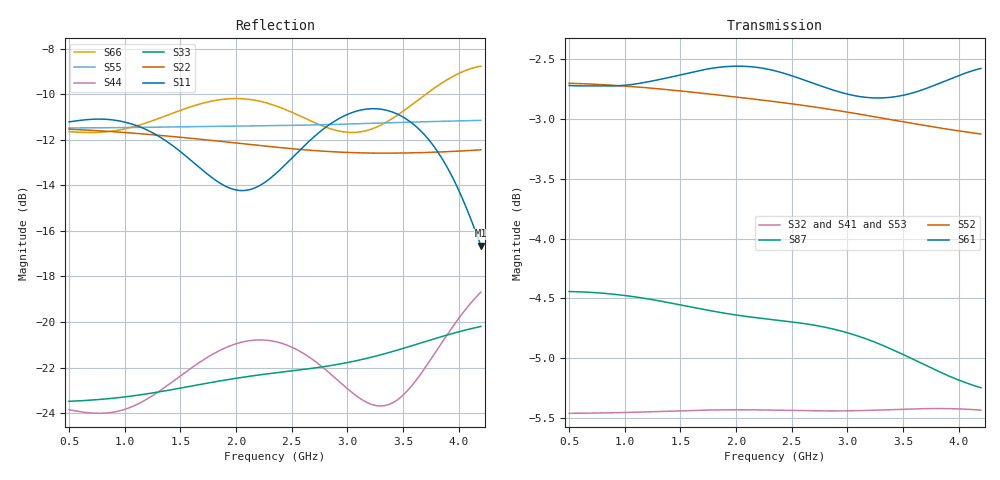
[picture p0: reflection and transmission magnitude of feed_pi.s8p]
! Created with skrf 2.1.0 (http://scikit-rf.org).
# Hz S RI R 50.0
!freq ReS11 ImS11 ReS12 ImS12 ReS13 ImS13
! ReS14 ImS14 ReS15 ImS15 ReS16 ImS16 ReS17 ImS17
! ReS18 ImS18
! ReS21 ImS21 ReS22 ImS22 ReS23 ImS23
! ReS24 ImS24 ReS25 ImS25 ReS26 ImS26 ReS27 ImS27
! ReS28 ImS28
! ReS31 ImS31 ReS32 ImS32 ReS33 ImS33
! ReS34 ImS34 ReS35 ImS35 ReS36 ImS36 ReS37 ImS37
! ReS38 ImS38
! ReS41 ImS41 ReS42 ImS42 ReS43 ImS43
! ReS44 ImS44 ReS45 ImS45 ReS46 ImS46 ReS47 ImS47
! ReS48 ImS48
! ReS51 ImS51 ReS52 ImS52 ReS53 ImS53
! ReS54 ImS54 ReS55 ImS55 ReS56 ImS56 ReS57 ImS57
! ReS58 ImS58
! ReS61 ImS61 ReS62 ImS62 ReS63 ImS63
! ReS64 ImS64 ReS65 ImS65 ReS66 ImS66 ReS67 ImS67
! ReS68 ImS68
! ReS71 ImS71 ReS72 ImS72 ReS73 ImS73
! ReS74 ImS74 ReS75 ImS75 ReS76 ImS76 ReS77 ImS77
! ReS78 ImS78
! ReS81 ImS81 ReS82 ImS82 ReS83 ImS83
! ReS84 ImS84 ReS85 ImS85 ReS86 ImS86 ReS87 ImS87
! ReS88 ImS88
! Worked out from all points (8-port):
!   371 points, 500 MHz to 4.2 GHz, reference 50 ohm
!   strongest paths, dB at 500 MHz, 1.42 GHz, 2.35 GHz, 3.28 GHz, 4.2 GHz:
!     S61: -2.7, -2.6, -2.6, -2.8, -2.6
!     S52: -2.7, -2.8, -2.9, -3.0, -3.1
!     S87: -4.4, -4.5, -4.7, -4.9, -5.2
!     S32: -5.5, -5.4, -5.4, -5.4, -5.4
!     S41: -5.5, -5.4, -5.4, -5.6, -5.3
!     S53: -5.5, -5.5, -5.6, -5.7, -5.8
!   lowest |S11| = -16.6 dB at 4.2 GHz (marker M1), VSWR 1.35, Z = 43.2 - j12 ohm
!   |S11| at or under -10 dB: start of sweep to end of sweep
